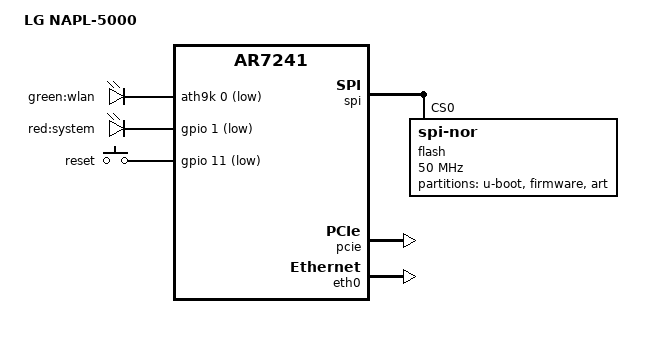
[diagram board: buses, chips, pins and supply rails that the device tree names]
// SPDX-License-Identifier: GPL-2.0-or-later OR MIT

#include "ar7241.dtsi"

#include <dt-bindings/gpio/gpio.h>
#include <dt-bindings/input/input.h>

/ {
	model = "LG NAPL-5000";
	compatible = "lg,napl-5000", "qca,ar7241";

	aliases {
		led-boot = &led_system;
		led-failsafe = &led_system;
		led-running = &led_system;
		led-upgrade = &led_system;
		label-mac-device = &eth0;
	};

	ath9k-leds {
		compatible = "gpio-leds";

		wlan {
			label = "green:wlan";
			gpios = <&ath9k 0 GPIO_ACTIVE_LOW>;
			linux,default-trigger = "phy0tpt";
		};
	};

	gpio-leds {
		compatible = "gpio-leds";

		led_system: system {
			label = "red:system";
			gpios = <&gpio 1 GPIO_ACTIVE_LOW>;
		};
	};

	keys {
		compatible = "gpio-keys";

		reset {
			label = "reset";
			linux,code = <KEY_RESTART>;
			gpios = <&gpio 11 GPIO_ACTIVE_LOW>;
		};
	};
};

&spi {
	status = "okay";

	flash@0 {
		compatible = "jedec,spi-nor";
		reg = <0>;
		spi-max-frequency = <50000000>;
		m25p,fast-read;

		partitions {
			compatible = "fixed-partitions";
			#address-cells = <1>;
			#size-cells = <1>;

			partition@0 {
				label = "u-boot";
				reg = <0x0 0x20000>;
				read-only;
			};

			partition@20000 {
				compatible = "denx,uimage";
				label = "firmware";
				reg = <0x20000 0x7d0000>;
			};

			art: partition@7f0000 {
				label = "art";
				reg = <0x7f0000 0x10000>;
				read-only;

				compatible = "nvmem-cells";
				#address-cells = <1>;
				#size-cells = <1>;

				macaddr_art_0: macaddr@0 {
					reg = <0x0 0x6>;
				};

				macaddr_art_6: macaddr@6 {
					reg = <0x6 0x6>;
				};
			};
		};
	};
};

&art {

};

&pcie {
	status = "okay";

	ath9k: wifi@0,0 {
		reg = <0x0000 0 0 0 0>;
		gpio-controller;
		#gpio-cells = <2>;
		qca,no-eeprom;
		nvmem-cells = <&macaddr_art_0>;
		nvmem-cell-names = "mac-address";
	};
};

&eth0 {
	status = "okay";

	nvmem-cells = <&macaddr_art_6>;
	nvmem-cell-names = "mac-address";
};

&eth1 {
	/* Workaround: keep the Ethernet interfaces order/mapping correct
	 * (GMAC0 -> eth0, GMAC1 -> eth1, same as in old ar71xx target) */
	compatible = "qca,ar7241-eth", "syscon", "simple-mfd";

	nvmem-cells = <&macaddr_art_0>;
	nvmem-cell-names = "mac-address";
};
